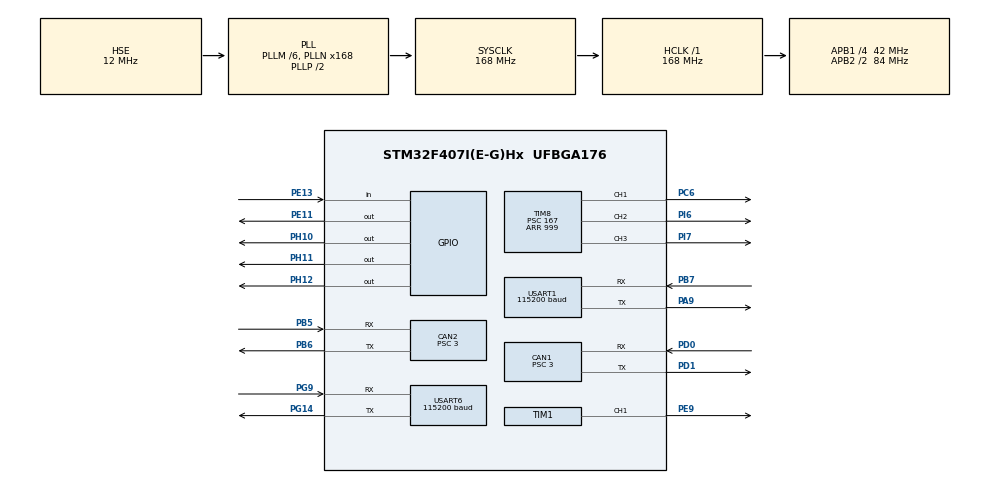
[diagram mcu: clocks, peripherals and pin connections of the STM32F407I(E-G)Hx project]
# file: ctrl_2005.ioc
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CAN1.BS1=CAN_BS1_9TQ
CAN1.BS2=CAN_BS2_4TQ
CAN1.CalculateBaudRate=1000000
CAN1.CalculateTimeBit=1000
CAN1.CalculateTimeQuantum=71.42857142857143
CAN1.Prescaler=3
CAN2.BS1=CAN_BS1_9TQ
CAN2.BS2=CAN_BS2_4TQ
CAN2.CalculateBaudRate=1000000
CAN2.CalculateTimeBit=1000
CAN2.CalculateTimeQuantum=71.42857142857143
CAN2.Prescaler=3
IWDG.Prescaler=IWDG_PRESCALER_32
Mcu.Family=STM32F4
Mcu.Name=STM32F407I(E-G)Hx
Mcu.Package=UFBGA176
NVIC.CAN1_RX0_IRQn=true\:0\:0\:false\:false\:true\:true\:true\:true
NVIC.CAN2_RX0_IRQn=true\:0\:0\:false\:false\:true\:true\:true\:true
NVIC.PriorityGroup=NVIC_PRIORITYGROUP_4
NVIC.USART1_IRQn=true\:0\:0\:false\:false\:true\:true\:true\:true
NVIC.USART6_IRQn=true\:0\:0\:false\:false\:true\:true\:true\:true
PA13.Mode=Serial_Wire
PA13.Signal=SYS_JTMS-SWDIO
PA14.Mode=Serial_Wire
PA14.Signal=SYS_JTCK-SWCLK
PA9.GPIO_PuPd=GPIO_PULLUP
PA9.Mode=Asynchronous
PA9.Signal=USART1_TX
PB5.Mode=CAN_Activate
PB5.Signal=CAN2_RX
PB6.Mode=CAN_Activate
PB6.Signal=CAN2_TX
PB7.GPIO_PuPd=GPIO_PULLUP
PB7.Mode=Asynchronous
PB7.Signal=USART1_RX
PC6.GPIO_PuPd=GPIO_PULLUP
PC6.GPIO_Speed=GPIO_SPEED_FREQ_HIGH
PC6.Signal=S_TIM8_CH1
PD0.Mode=CAN_Activate
PD0.Signal=CAN1_RX
PD1.Mode=CAN_Activate
PD1.Signal=CAN1_TX
PE11.GPIO_Speed=GPIO_SPEED_FREQ_LOW
PE11.PinState=GPIO_PIN_SET
PE11.Signal=GPIO_Output
PE13.GPIO_PuPd=GPIO_PULLUP
PE13.Signal=GPIO_Input
PE9.GPIO_Speed=GPIO_SPEED_FREQ_HIGH
PE9.Signal=S_TIM1_CH1
PG14.GPIO_PuPd=GPIO_PULLUP
PG14.Mode=Asynchronous
PG14.Signal=USART6_TX
PG9.GPIO_PuPd=GPIO_PULLUP
PG9.Mode=Asynchronous
PG9.Signal=USART6_RX
PH0-OSC_IN.Mode=HSE-External-Oscillator
PH0-OSC_IN.Signal=RCC_OSC_IN
PH1-OSC_OUT.Mode=HSE-External-Oscillator
PH1-OSC_OUT.Signal=RCC_OSC_OUT
PH10.GPIO_Speed=GPIO_SPEED_FREQ_LOW
PH10.PinState=GPIO_PIN_SET
PH10.Signal=GPIO_Output
PH11.GPIO_Speed=GPIO_SPEED_FREQ_LOW
PH11.PinState=GPIO_PIN_SET
PH11.Signal=GPIO_Output
PH12.GPIO_Speed=GPIO_SPEED_FREQ_LOW
PH12.PinState=GPIO_PIN_SET
PH12.Signal=GPIO_Output
PI6.GPIO_PuPd=GPIO_PULLUP
PI6.GPIO_Speed=GPIO_SPEED_FREQ_HIGH
PI6.Signal=S_TIM8_CH2
PI7.GPIO_PuPd=GPIO_PULLUP
PI7.GPIO_Speed=GPIO_SPEED_FREQ_HIGH
PI7.Signal=S_TIM8_CH3
ProjectManager.HeapSize=0x200
ProjectManager.StackSize=0x400
ProjectManager.TargetToolchain=MDK-ARM V5.32
RCC.48MHZClocksFreq_Value=84000000
RCC.AHBFreq_Value=168000000
RCC.APB1CLKDivider=RCC_HCLK_DIV4
RCC.APB1Freq_Value=42000000
RCC.APB1TimFreq_Value=84000000
RCC.APB2CLKDivider=RCC_HCLK_DIV2
RCC.APB2Freq_Value=84000000
RCC.APB2TimFreq_Value=168000000
RCC.CortexFreq_Value=168000000
RCC.HCLKFreq_Value=168000000
RCC.HSE_VALUE=12000000
RCC.HSI_VALUE=16000000
RCC.LSE_VALUE=32768
RCC.PLLM=6
RCC.PLLN=168
RCC.PLLSourceVirtual=RCC_PLLSOURCE_HSE
RCC.SYSCLKFreq_VALUE=168000000
RCC.SYSCLKSource=RCC_SYSCLKSOURCE_PLLCLK
RCC.VCOOutputFreq_Value=336000000
SH.S_TIM1_CH1.0=TIM1_CH1,PWM Generation1 CH1
SH.S_TIM8_CH1.0=TIM8_CH1,PWM Generation1 CH1
SH.S_TIM8_CH2.0=TIM8_CH2,PWM Generation2 CH2
SH.S_TIM8_CH3.0=TIM8_CH3,PWM Generation3 CH3
TIM1.Channel-PWM\ Generation1\ CH1=TIM_CHANNEL_1
TIM1.Period=999
TIM1.Prescaler=167
TIM1.Pulse-PWM\ Generation1\ CH1=0
TIM8.Channel-PWM\ Generation1\ CH1=TIM_CHANNEL_1
TIM8.Channel-PWM\ Generation2\ CH2=TIM_CHANNEL_2
TIM8.Channel-PWM\ Generation3\ CH3=TIM_CHANNEL_3
TIM8.Period=999
TIM8.Prescaler=167
TIM8.Pulse-PWM\ Generation1\ CH1=125
TIM8.Pulse-PWM\ Generation2\ CH2=125
TIM8.Pulse-PWM\ Generation3\ CH3=125
USART1.BaudRate=115200
USART1.VirtualMode=VM_ASYNC
USART6.BaudRate=115200
USART6.VirtualMode=VM_ASYNC
VP_IWDG_VS_IWDG.Mode=IWDG_Activate
VP_TIM1_VS_ClockSourceINT.Mode=Internal
VP_TIM8_VS_ClockSourceINT.Mode=Internal
board=custom

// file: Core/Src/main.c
/* USER CODE BEGIN Header */
/**
  ******************************************************************************
  * @file           : Main program body
  ******************************************************************************
  */
/* USER CODE END Header */
#include "main.h"
#include "can.h"
#include "iwdg.h"
#include "tim.h"
#include "usart.h"
#include "gpio.h"

/* USER CODE BEGIN Includes */
#include <stdbool.h>
#include <stdlib.h>
#include <string.h>
#include "CAN_receive.h"
#include "bsp_can.h"
#include "chassis_solve.h"
#include "bt_rc.h"
#include "stepper.h"   /* 俯仰步进: TIM1_CH1(PE9)+DIR(PE11)+限位(PE13) */
#include "debug_port.h"
#include "led_ind.h"
#include "pid.h"
#include "k210_follow.h"
#include "tim.h"
#include "dshot.h"
#include "robot_config.h"      /* ★ 全部可调参数集中在这个文件 ★ */
/* USER CODE END Includes */

/* USER CODE BEGIN PD */
/*
 * ★ 可调参数已全部移到 user/robot_config.h ★
 * 本文件不再定义任何调参宏；要改 PID、刹车、油门、斜坡，去那个文件。
 * 下面只保留 SWD 在线监控用的共享数据结构。
 */

typedef struct
{
	uint32_t magic;
	uint32_t tick;              /* HAL_GetTick(), 判断固件是否在跑 */
	uint32_t mode;              /* 0=RC 1=FOLLOW */
	uint32_t bt_online;         /* 蓝牙链路 0/1 */
	int32_t  vx;
	int32_t  vy;
	int32_t  w;
	int32_t  wheel[4];          /* 逆解目标转速 RB/LB/LF/RF */
	int32_t  rpm[4];            /* CAN 反馈转速 RB/LB/LF/RF */
	int32_t  k210_w;            /* 跟随转向指令(rpm) */
	int32_t  k210_err_x10;      /* K210 水平误差, 单位0.1deg */
	uint32_t k210_frames;       /* 校验通过帧数 */
	uint32_t k210_bad;          /* 校验失败帧数 */
	uint32_t k210_drop;         /* seq 丢帧数 */
	uint32_t k210_age_ms;       /* 距最近一帧时间, 0xFFFFFFFF=从未收到 */
	uint32_t k210_online;       /* 500ms 看门狗内 0/1 */
	uint32_t k210_state;        /* 'L'/'S'/'X' ASCII */
	int32_t  k210_dist_x100;    /* K210 估距(cm), -100=未知 */
	int32_t  k210_vx;           /* 距离保持前后平移指令(rpm) */
	int32_t  esc_speed_x100;    /* 无刷速度档 0~100 */
	int32_t  esc_out_x100;      /* 实际输出油门 0~100 */
	uint32_t esc_pkt;           /* 最近 DShot 16bit 帧 */
	uint32_t esc_a_hold;        /* A 键判定结果 0/1 (排查自转) */
	uint32_t esc_key2;          /* 按键2 原始字节 (排查自转) */
	int32_t  stepper_pos;       /* 步进相对零位步数(升+/降-/碰限位清零) */
	uint32_t stepper_lim;       /* 步进限位压住 0/1 */
} v2_dbg_t;

/* USER CODE END PD */

/* USER CODE BEGIN PV */
motor_measure_t C[CHASSIS_MOTOR_NUM];
int16_t speed[CHASSIS_MOTOR_NUM] = {0};

PID_Controller MY_PID[CHASSIS_MOTOR_NUM] =
{
	/*                    kp          ki         kd        sp le ig  max_out              max_iout              out */
	/* [0] 一号 RB 右后 */ {PID_BASE_KP, PID_BASE_KI, PID_BASE_KD, 0, 0, 0, CHASSIS_3508_MAX_CURRENT, CHASSIS_PID_MAX_IOUT, 0},
	/* [1] 二号 LB 左后 */ {PID_2_KP,    PID_2_KI,    PID_2_KD,    0, 0, 0, CHASSIS_3508_MAX_CURRENT, CHASSIS_PID_MAX_IOUT, 0},
	/* [2] 三号 LF 左前 */ {PID_BASE_KP, PID_BASE_KI, PID_BASE_KD, 0, 0, 0, CHASSIS_3508_MAX_CURRENT, CHASSIS_PID_MAX_IOUT, 0},
	/* [3] 四号 RF 右前 */ {PID_BASE_KP, PID_BASE_KI, PID_BASE_KD, 0, 0, 0, CHASSIS_3508_MAX_CURRENT, CHASSIS_PID_MAX_IOUT, 0},
};

/* kp/kd 的基准值(每拍会被乘刹车增益覆盖, 所以单独存一份) */
static const float PID_BASE_GAIN[CHASSIS_MOTOR_NUM][2] =
{
	{PID_BASE_KP, PID_BASE_KD},   /* [0] 一号 RB */
	{PID_2_KP,    PID_2_KD},      /* [1] 二号 LB */
	{PID_BASE_KP, PID_BASE_KD},   /* [2] 三号 LF */
	{PID_BASE_KP, PID_BASE_KD},   /* [3] 四号 RF */
};
/* SWD 监控共享块: 主循环每拍写, pyocd 只读 */
volatile v2_dbg_t V2_dbg = { V2_DBG_MAGIC };

/* USER CODE END PV */

void SystemClock_Config(void);

/* USER CODE BEGIN 0 */
/* 摇杆原始值(-127~127) -> 目标转速(rpm): 死区 + 满量程缩放 + 方向 */
static int16_t bt_joy_map(int16_t raw, int8_t dir, int16_t max_rpm)
{
	if (raw > -BT_JOY_DEADBAND && raw < BT_JOY_DEADBAND)
	{
		return 0;
	}
	return (int16_t)(dir * raw * max_rpm / 127);
}
/* USER CODE END 0 */

int main(void)
{

  /* MCU Configuration--------------------------------------------------------*/

  /* Reset of all peripherals, Initializes the Flash interface and the Systick. */
  HAL_Init();

  /* Configure the system clock */
  SystemClock_Config();

  /* Initialize all configured peripherals */
  MX_GPIO_Init();
  MX_CAN1_Init();
  MX_CAN2_Init();
  MX_USART1_UART_Init();
  MX_USART6_UART_Init();
  MX_IWDG_Init();
  MX_TIM1_Init();
  MX_TIM8_Init();
  /* USER CODE BEGIN 2 */
  can_filter_init();
  bt_rc_init();                 /* 塔克蓝牙模块: USART1(PA9/PB7) 115200 8N1 */
  debug_port_init();            /* 调试串口: USART6(PG14/PG9) 接DAPLink虚拟串口 */
  led_ind_init();               /* 板载三色LED: 无串口也能看蓝牙状态 */
  debug_print("chassis bt-rc up\r\n");
  /* MX_TIM1_Init / MX_TIM8_Init 由 CubeMX 生成代码在上面的初始化块里调用,
   * 这里绝对不能再调一次(会重复初始化 PWM 通道)。见 ctrl_2005.ioc 的 functionlistsort。 */
  stepper_init();               /* 步进: DIR(PE11) 输出 + 限位(PE13) 输入 + PWM 通道启动 */
  DShot_Init();                 /* DShot300 环形 DMA, 上电即持续发零油门帧 */
  {
    /* 等电调解锁(BLHeli_S 约 1~3s), 期间必须持续发帧并喂狗 */
    uint32_t arm_until = HAL_GetTick() + DSHOT_ARM_MS;
    while (HAL_GetTick() < arm_until)
    {
      HAL_IWDG_Refresh(&hiwdg);
      HAL_Delay(10);
    }
  }
  debug_print("esc dshot300 armed\r\n");
  k210_follow_init();           /* K210 视觉跟随: USART6(PG9/PG14) 115200 8N1 */
  /* USER CODE END 2 */

  /* Infinite loop */
  while (1)
  {

    /* USER CODE BEGIN 3 */
		uint8_t i;
		int32_t vx;
		int32_t vy;
		int32_t w;
		int32_t wheel[CHASSIS_MOTOR_NUM];
		const bt_rc_t *bt;
		static uint8_t mode = MODE_RC;    /* 0=蓝牙遥控 1=K210跟随 */
		static bool last_key2 = false;
		const k210_follow_t *kf;

		HAL_Delay(10);
		HAL_IWDG_Refresh(&hiwdg);   /* 喂狗不依赖遥控数据, 防止断连复位 */

		bt = bt_rc_update();        /* 内部处理超时离线(摇杆自动归零) */

		/* 俯仰步进: 方向键 上=升 下=降 松开=停; 内部做斜坡/限位/换向保护 */
		stepper_set_dir(bt_rc_dir());
		stepper_task_10ms();
		kf = k210_follow_get();
		led_ind_task(mode, kf->online, (kf->online && kf->state == 'L') ? 1u : 0u);  /* LED: 模式+目标状态 */
		k210_follow_task();         /* K210 看门狗/超时处理 */

		/* key2 按下边沿 -> 切换 RC/FOLLOW, 清四轮积分 */
		if (bt->key2 == BT_KEY2_START && !last_key2)
		{
			mode = (mode == MODE_RC) ? MODE_FOLLOW : MODE_RC;
			for (i = 0; i < CHASSIS_MOTOR_NUM; i++)
			{
				MY_PID[i].integral = 0;
			}
			k210_follow_reset();   /* 清距离环软起步斜坡, 别带上一模式的状态 */
			debug_print("mode -> %s\r\n", (mode == MODE_RC) ? "RC" : "FOLLOW");
		}
		last_key2 = (bt->key2 == BT_KEY2_START);

		/*
		 * 摇杆映射 —— 与全向底盘工程(DR16版)保持一致:
		 *   右摇杆Y -> vx  前后平移  (对应 DR16 ch3)
		 *   右摇杆X -> vy  左右平移  (对应 DR16 ch2)
		 *   左摇杆X -> w   旋转      (对应 DR16 ch0)
		 * 遥控器"上推"原始值为负, 所以 vx 取负抵消。
		 * 满量程/方向宏见 bt_rc.h 的 BT_VX_MAX_RPM / BT_VX_DIR 等。
		 */
		if (mode == MODE_FOLLOW)
		{
			/* 跟随模式: 只做朝向跟踪(err_deg), 不前进也不后退, 横移不用。
			 * vx 这行保留调用是为了把"要不要追人"集中在一个开关里
			 * (K210_FOLLOW_VX_ENABLE=0 时它恒返回 0, 连斜坡状态都不跑)。
			 * K210 离线/丢人时两路指令都返回 0, 原地停住不瞎走。 */
			vx = k210_follow_vx_cmd();
			vy = 0;
			w  = k210_follow_wheel_cmd();
		}
		else if (bt_rc_is_online())
		{
			vx = -bt_joy_map(bt->ry, BT_VX_DIR, BT_VX_MAX_RPM);
			vy =  bt_joy_map(bt->rx, BT_VY_DIR, BT_VY_MAX_RPM);
			w  =  bt_joy_map(bt->lx, BT_W_DIR,  BT_W_MAX_RPM);
		}
		else
		{
			vx = 0;
			vy = 0;
			w  = 0;
		}

		/*
		 * 全向轮逆解(矩形四角, 轮轴呈 X 形)。
		 * 输出顺序: wheel[0]=RB(右后1) [1]=LB(左后2) [2]=LF(左前3) [3]=RF(右前4)
		 * 符号/方向修正全部在 chassis_solve.h 的宏里, 上机反了就翻宏。
		 */
		chassis_inverse_kinematics(vx, vy, w, wheel);

		/* 轮速目标斜坡限幅: 削掉指令阶跃, 防瞬间大电流破抓地打滑 */
		{
			static int32_t wheel_ramp[CHASSIS_MOTOR_NUM] = {0};
			for (i = 0; i < CHASSIS_MOTOR_NUM; i++)
			{
				int32_t diff = wheel[i] - wheel_ramp[i];
				if (diff > WHEEL_SLEW_RPM_PER_TICK)
				{
					diff = WHEEL_SLEW_RPM_PER_TICK;
				}
				if (diff < -WHEEL_SLEW_RPM_PER_TICK)
				{
					diff = -WHEEL_SLEW_RPM_PER_TICK;
				}
				wheel_ramp[i] += diff;
				wheel[i] = wheel_ramp[i];
			}
		}

		/*
		 * 松杆刹车:
		 *   松杆沿(上一拍有输入, 这一拍全零) -> 清掉四轮积分, 防止残留积分继续推车;
		 *   摇杆归零且任一轮 |rpm| > EXIT_RPM -> 刹车态, KP/KD 乘 CHASSIS_BRAKE_GAIN 强力拉回零速;
		 *   四轮都停稳或摇杆有输入 -> 恢复正常增益。
		 * KP/KD 每拍从基准值重算, 不累积污染。
		 */
		{
			static bool last_stick_zero = false;
			bool stick_zero = (vx == 0 && vy == 0 && w == 0);
			bool brake_edge = stick_zero && !last_stick_zero;
			bool moving = false;
			float gain;

			if (stick_zero)
			{
				for (i = 0; i < CHASSIS_MOTOR_NUM; i++)
				{
					int32_t rpm = C[i].speed_rpm;
					if (rpm < -CHASSIS_BRAKE_EXIT_RPM || rpm > CHASSIS_BRAKE_EXIT_RPM)
					{
						moving = true;
						break;
					}
				}
			}

			if (brake_edge)
			{
				for (i = 0; i < CHASSIS_MOTOR_NUM; i++)
				{
					MY_PID[i].integral = 0;
				}
			}

			gain = (stick_zero && moving) ? CHASSIS_BRAKE_GAIN : 1.0f;
			for (i = 0; i < CHASSIS_MOTOR_NUM; i++)
			{
				MY_PID[i].kp = PID_BASE_GAIN[i][0] * gain;
				MY_PID[i].kd = PID_BASE_GAIN[i][1] * gain;
			}

			last_stick_zero = stick_zero;
		}

		for (i = 0; i < CHASSIS_MOTOR_NUM; i++)
		{
			MY_PID[i].setpoint = wheel[i];
			C[i] = *get_chassis_motor_measure_point(i);
			speed[i] = PID_Calculate(&MY_PID[i], C[i].speed_rpm);
		}

		CAN_cmd_chassis(speed[0], speed[1], speed[2], speed[3]);

		/* ---- 3 路无刷 (TIM8 CH1~CH3): A 键使能 + LB/RB 调速 ---- */
		{
			static float esc_speed = ESC_SPEED_INIT;  /* 油门档位 0~1, LB/RB 调 */
			static float esc_out = -1.0f;      /* 实际输出(斜坡后的值) */
			static float esc_write = -1.0f;    /* 上次下发给电调的值 */
			static uint32_t esc_speed_tick = 0;
			float out;
			uint8_t a_hold = bt_rc_key_a();
			int8_t esc_key = 0;

			/* RB 加速 / LB 减速, 每 ESC_SPEED_TICK_MS 变 ESC_SPEED_STEP 档
			 * 注意: 按键在 key2 的位掩码里(LB=bit6, RB=bit7); key1 是方向枚举不是位掩码
			 * 方向键已改控俯仰步进, 无刷速度改用肩键; A 键仍是使能(松开出力归 0) */
			if ((bt->key2 & BT_KEY2_RB) != 0u)
			{
				esc_key = 1;
			}
			else if ((bt->key2 & BT_KEY2_LB) != 0u)
			{
				esc_key = -1;
			}

			if (esc_key != 0)
			{
				uint32_t elapsed = HAL_GetTick() - esc_speed_tick;
				if (elapsed >= ESC_SPEED_TICK_MS)
				{
					uint32_t steps = elapsed / ESC_SPEED_TICK_MS;
					esc_speed_tick += steps * ESC_SPEED_TICK_MS;
					esc_speed += (float)esc_key * ESC_SPEED_STEP * (float)steps;
					if (esc_speed < 0.0f) { esc_speed = 0.0f; }
					if (esc_speed > 1.0f) { esc_speed = 1.0f; }
				}
			}
			else
			{
				esc_speed_tick = HAL_GetTick();
			}

			out = (a_hold != 0u) ? (esc_speed * ESC_RUN_THROTTLE) : 0.0f;

			/* 首拍从 0 起步, 避免 -1 占位值被当成有效输出 */
			if (esc_out < 0.0f)
			{
				esc_out = 0.0f;
			}

			/* 油门斜坡: 升降各约 1s(每拍 1%), 不瞬间跳变 */
			if (esc_out < out)
			{
				esc_out += ESC_RAMP_STEP;
				if (esc_out > out) { esc_out = out; }
			}
			else if (esc_out > out)
			{
				esc_out -= ESC_RAMP_STEP;
				if (esc_out < out) { esc_out = out; }
			}

			/* 值真的变了才下发(减少 DMA 重启次数) */
			if (esc_out != esc_write)
			{
				esc_write = esc_out;
				DShot_SetAllThrottle(esc_out);
			}

			V2_dbg.esc_speed_x100 = (int32_t)(esc_speed * 100.0f + 0.5f);   /* 当前油门档位 */
			V2_dbg.esc_out_x100 = (int32_t)(esc_out * 100.0f + 0.5f);
			V2_dbg.esc_pkt = DShot_GetPacket();
			V2_dbg.esc_a_hold = a_hold;
			V2_dbg.esc_key2 = bt->key2;
			V2_dbg.stepper_pos = stepper_get_pos();
			V2_dbg.stepper_lim = stepper_limit_active();
		}
		k210_follow_report(mode);   /* 200ms 节流回传, 走 USART6(K210 可见) */

		/* 刷新 SWD 监控块 */
		{
			V2_dbg.tick = HAL_GetTick();
			V2_dbg.mode = mode;
			V2_dbg.bt_online = bt_rc_is_online() ? 1u : 0u;
			V2_dbg.vx = vx;
			V2_dbg.vy = vy;
			V2_dbg.w = w;
			for (i = 0; i < CHASSIS_MOTOR_NUM; i++)
			{
				V2_dbg.wheel[i] = wheel[i];
				V2_dbg.rpm[i] = C[i].speed_rpm;
			}
			V2_dbg.k210_w = k210_follow_wheel_cmd();
			V2_dbg.k210_err_x10 = kf->err_deg_x10;
			V2_dbg.k210_frames = kf->frame_cnt;
			V2_dbg.k210_bad = kf->bad_cnt;
			V2_dbg.k210_drop = kf->drop_cnt;
			V2_dbg.k210_online = kf->online;
			V2_dbg.k210_state = (uint32_t)(uint8_t)kf->state;
			V2_dbg.k210_dist_x100 = kf->dist_x100;
			/* 注意: 不能在这里再调 k210_follow_vx_cmd(), 它带状态(斜坡),
			 * 每拍调两次会让软起步速度翻倍。用主循环算好的 vx 即可。 */
			V2_dbg.k210_vx = (mode == MODE_FOLLOW) ? vx : 0;
			V2_dbg.k210_age_ms = (kf->last_tick == 0u) ? 0xFFFFFFFFu
			                   : (HAL_GetTick() - kf->last_tick);
		}

#if BT_DEBUG_EN
		{
			static uint32_t last_dbg = 0;
			if (HAL_GetTick() - last_dbg >= BT_DEBUG_PERIOD_MS)
			{
				last_dbg = HAL_GetTick();
				debug_print("id:%02X ty:%02X link:%d lx:%4d ly:%4d rx:%4d ry:%4d k1:%02X k2:%02X ok:%lu err:%lu s:%4d %4d %4d %4d\r\n",
					bt->frame_id, bt->frame_type, bt->link,
					bt->lx, bt->ly, bt->rx, bt->ry, bt->key1, bt->key2,
					bt->ok_cnt, bt->err_cnt,
					C[0].speed_rpm, C[1].speed_rpm, C[2].speed_rpm, C[3].speed_rpm);
			}
		}
#endif
  }
  /* USER CODE END 3 */
}

void SystemClock_Config(void)
{
  RCC_OscInitTypeDef RCC_OscInitStruct = {0};
  RCC_ClkInitTypeDef RCC_ClkInitStruct = {0};

  /** Configure the main internal regulator output voltage
  */
  __HAL_RCC_PWR_CLK_ENABLE();
  __HAL_PWR_VOLTAGESCALING_CONFIG(PWR_REGULATOR_VOLTAGE_SCALE1);

  /** Initializes the RCC Oscillators according to the specified parameters
  * in the RCC_OscInitTypeDef structure.
  */
  RCC_OscInitStruct.OscillatorType = RCC_OSCILLATORTYPE_LSI|RCC_OSCILLATORTYPE_HSE;
  RCC_OscInitStruct.HSEState = RCC_HSE_ON;
  RCC_OscInitStruct.LSIState = RCC_LSI_ON;
  RCC_OscInitStruct.PLL.PLLState = RCC_PLL_ON;
  RCC_OscInitStruct.PLL.PLLSource = RCC_PLLSOURCE_HSE;
  RCC_OscInitStruct.PLL.PLLM = 6;
  RCC_OscInitStruct.PLL.PLLN = 168;
  RCC_OscInitStruct.PLL.PLLP = RCC_PLLP_DIV2;
  RCC_OscInitStruct.PLL.PLLQ = 4;
  if (HAL_RCC_OscConfig(&RCC_OscInitStruct) != HAL_OK)
  {
    Error_Handler();
  }

  /** Initializes the CPU, AHB and APB buses clocks
  */
  RCC_ClkInitStruct.ClockType = RCC_CLOCKTYPE_HCLK|RCC_CLOCKTYPE_SYSCLK
                              |RCC_CLOCKTYPE_PCLK1|RCC_CLOCKTYPE_PCLK2;
  RCC_ClkInitStruct.SYSCLKSource = RCC_SYSCLKSOURCE_PLLCLK;
  RCC_ClkInitStruct.AHBCLKDivider = RCC_SYSCLK_DIV1;
  RCC_ClkInitStruct.APB1CLKDivider = RCC_HCLK_DIV4;
  RCC_ClkInitStruct.APB2CLKDivider = RCC_HCLK_DIV2;

  if (HAL_RCC_ClockConfig(&RCC_ClkInitStruct, FLASH_LATENCY_5) != HAL_OK)
  {
    Error_Handler();
  }
}

void Error_Handler(void)
{
  __disable_irq();
  while (1)
  {
  }
}
